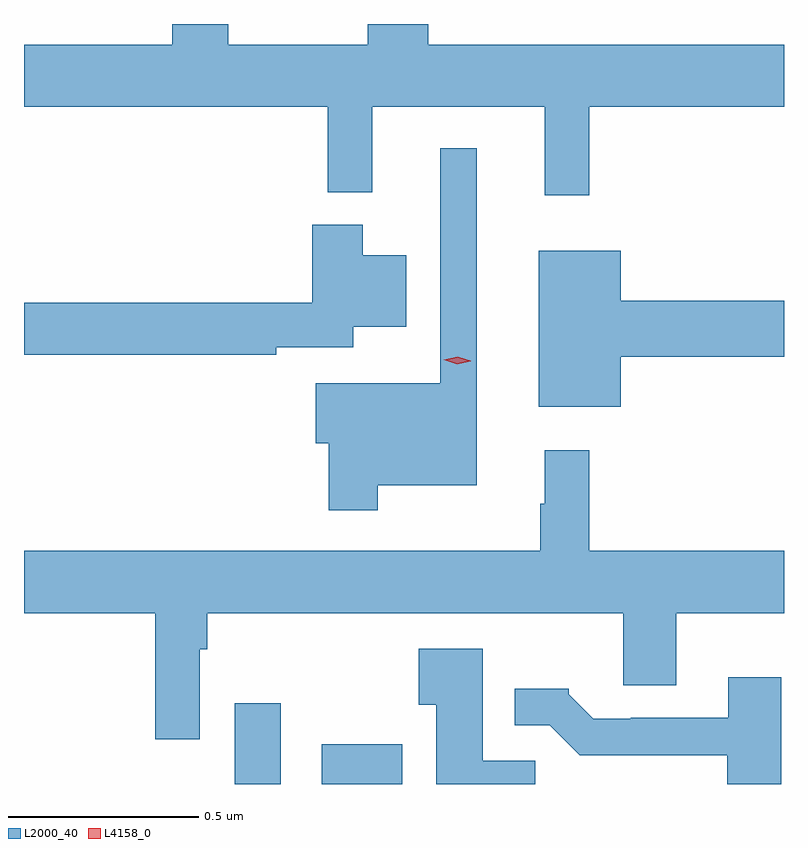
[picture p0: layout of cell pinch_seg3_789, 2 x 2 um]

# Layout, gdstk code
import gdstk
lib = gdstk.Library(unit=1e-6, precision=1e-09)
def R(c, l, rs):  # rectangles x0, y0, x1, y1
    for r in rs: c.add(gdstk.rectangle(r[:2], r[2:], *l))
def P(c, l, *ps):  # polygons
    for p in ps: c.add(gdstk.Polygon(p, *l))
L2000_40 = (2000, 40)
L4158_0 = (4158, 0)

pinch_seg3_789 = lib.new_cell('pinch_seg3_789')
R(pinch_seg3_789, L2000_40, [(765.65,732.434,765.772,732.646), (765.879,732.434,766.092,732.538)])
P(pinch_seg3_789, L2000_40, [(766,734.434),(766,734.38),(765.633,734.38),(765.633,734.434),(765.486,734.434),(765.486,734.38),(765.096,734.38),(765.096,734.216),(765.895,734.216),(765.895,733.991),(766.013,733.991),(766.013,734.216),(766.466,734.216),(766.466,733.983),(766.583,733.983),(766.583,734.216),(767.096,734.216),(767.096,734.38),(766.16,734.38),(766.16,734.434)],
  [(766.027,733.22),(766.288,733.22),(766.288,734.107),(766.191,734.107),(766.191,733.489),(765.864,733.489),(765.864,733.331),(765.898,733.331),(765.898,733.155),(766.027,733.155)],
  [(765.76,733.584),(765.963,733.584),(765.963,733.637),(766.102,733.637),(766.102,733.825),(765.988,733.825),(765.988,733.906),(765.854,733.906),(765.854,733.7),(765.096,733.7),(765.096,733.564),(765.76,733.564)],
  [(766.666,733.559),(767.096,733.559),(767.096,733.706),(766.666,733.706),(766.666,733.837),(766.451,733.837),(766.451,733.427),(766.666,733.427)],
  [(765.558,732.788),(765.578,732.788),(765.578,732.884),(766.673,732.884),(766.673,732.694),(766.813,732.694),(766.813,732.884),(767.096,732.884),(767.096,733.048),(766.583,733.048),(766.583,733.312),(766.466,733.312),(766.466,733.172),(766.455,733.172),(766.455,733.048),(765.096,733.048),(765.096,732.884),(765.442,732.884),(765.442,732.552),(765.558,732.552)],
  [(766.441,732.495),(766.303,732.495),(766.303,732.79),(766.135,732.79),(766.135,732.643),(766.181,732.643),(766.181,732.434),(766.441,732.434)],
  [(767.089,732.715),(766.949,732.715),(766.949,732.609),(766.693,732.609),(766.693,732.606),(766.594,732.606),(766.53,732.67),(766.53,732.685),(766.388,732.685),(766.388,732.588),(766.479,732.588),(766.558,732.51),(766.947,732.51),(766.947,732.434),(767.089,732.434)])
P(pinch_seg3_789, L4158_0, [(766.236,733.539),(766.201,733.551),(766.201,733.551),(766.201,733.551),(766.237,733.559),(766.272,733.548),(766.272,733.547),(766.272,733.547)])

lib.write_gds('pinch_seg3_789.gds')
